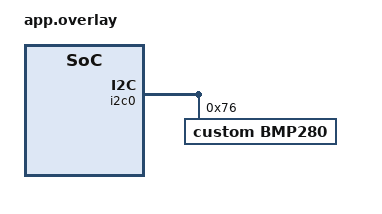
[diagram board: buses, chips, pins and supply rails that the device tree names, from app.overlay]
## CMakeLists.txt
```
cmake_minimum_required(VERSION 3.20.0)

get_filename_component(BMP280_LIB_PATH "${CMAKE_CURRENT_SOURCE_DIR}/../.." ABSOLUTE)
list (APPEND ZEPHYR_EXTRA_MODULES ${BMP280_LIB_PATH})

find_package(Zephyr REQUIRED HINTS $ENV{ZEPHYR_BASE})

project(bmp280_test)
target_include_directories(app PRIVATE
$(BMP280_LIB_PATH)/include)
target_sources(app PRIVATE src/main.c)
```

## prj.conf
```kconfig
CONFIG_I2C=y
CONFIG_SENSOR=y
CONFIG_CUSTOM_BMP280=y
CONFIG_UART_CONSOLE=y
CONFIG_PRINTK=y
CONFIG_LOG=y
CONFIG_I2C_LOG_LEVEL_DBG=y
CONFIG_LOG_MODE_IMMEDIATE=y
CONFIG_CUSTOM_BMP280_USE_ALTIMETER=y
```

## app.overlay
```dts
#include <dt-bindings/sensor/custom_bmp280.h>

&i2c0 {
    status = "okay";
    bmp280: bmp280@76 {
        compatible = "custom,bmp280";
        reg = <0x76>;
        status = "okay";
        
        /* Initial Configuration
         * See dt-bindings/sensor/custom_bmp280.h for more options
         */
        mode = <BMP280_MODE_NORMAL>;
        temperature-oversampling = <BMP280_OVERSAMPLING_X16>;
        pressure-oversampling = <BMP280_OVERSAMPLING_X16>;
        iir-filter = <BMP280_FILTER_X8>;
        t-standby = <BMP280_T_STANDBY_62_5MS>;
        pressure-sea-level = <100600>;
    };
    
};
```

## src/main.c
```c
/*
 * Copyright (c) 2026 Franciszek Trzeciak
 *
 * SPDX-License-Identifier: Apache-2.0
 *
 * BMP280 Zephyr driver demo
 */

#include <zephyr/kernel.h>
#include <zephyr/drivers/sensor.h>
#include <zephyr/drivers/sensor/custom_bmp280.h> // see for more settings

// #define SETTINGS // show config, then change and show again
// #define MEASURE // measure loop
// #define ALTIMETER //add altimeter to measure loop

#define ALL // all above

// uncomment to set own SEA LEVEL PRESSURE for altimeter
#define SEA_LEVEL_PRESSURE (struct sensor_value){.val1 = 100 /*kPa*/, .val2=800000 /*mPa*/}
#ifdef ALL
#ifndef SETTINGS
#define SETTINGS
#endif
#ifndef MEASURE
#define MEASURE
#endif
#ifndef ALTIMETER
#define ALTIMETER
#endif
#endif

#ifdef ALTIMETER
#ifndef MEASURE
#define MEASURE
#endif
#endif

#ifndef SEA_LEVEL_PRESSURE
#define SEA_LEVEL_PRESSURE BMP280_DEFAULT_SEA_LEVEL_PRESSURE
#endif

void readAndPrint(const struct device *dev);
void dumpConfiguration(const struct device *dev);
void setConfiguration(const struct device *dev);

int main(void)
{
    const struct device *bmp = DEVICE_DT_GET_ANY(custom_bmp280);
    if (bmp == NULL)
        printf("ERROR: compatible device found\n");
    if (!device_is_ready(bmp))
        printf("ERROR: Device %s not ready\n", bmp->name);
    printk("\n");
#ifdef SETTINGS
    printk("\n--DT configuration (see app.overlay)--\n");
    dumpConfiguration(bmp);

    printk("\n------Setting new configuration-------\n");
    setConfiguration(bmp);

    printk("\n----------New configuration-----------\n");
    dumpConfiguration(bmp);
#endif
#ifndef MEASURE
    printk("\n----------------Done------------------\n");

    while (1)
        ;
#endif
#ifdef MEASURE

    while (1)
    {
        // read Temperature and Pressure
        readAndPrint(bmp);
        k_msleep(1000);
    }
#endif
}

void readAndPrint(const struct device *dev)
{
    struct sensor_value temp;
    struct sensor_value press;
#ifdef ALTIMETER
    struct sensor_value alt;
#endif
    int64_t start_time, stop_time;

    start_time = k_uptime_get();
    // retreive data from sensor
    int8_t c = sensor_sample_fetch(dev);
    stop_time = k_uptime_get();
    // convert raw data
    if (c == 0)
    {
        int8_t c3 = sensor_channel_get(dev, SENSOR_CHAN_PRESS, &press);
        int8_t c2 = sensor_channel_get(dev, SENSOR_CHAN_AMBIENT_TEMP, &temp);
#ifdef ALTIMETER
        int8_t c4 = sensor_channel_get(dev, SENSOR_CHAN_ALTITUDE, &alt);
#endif
        // show results
        printk("Fetch time: %lldms\n", stop_time - start_time);
#ifdef ALTIMETER
        printk("RETURN CODES\nfetch (%d), get (%d_%d_%d)\n", c, c2, c3, c4);
#else
        printk("RETURN CODES\nfetch (%d), get (%d_%d)\n", c, c2, c3);

#endif
        printk("Temp\t%d.%06d  *C\n", temp.val1, temp.val2);
        printk("Press\t%d.%06d kPa\n", press.val1, press.val2);
#ifdef ALTIMETER

        printk("Alt AMSL \t%d.%06d m\n", alt.val1, alt.val2);
        printk("---------------------------\n");
#endif
    }
    else
    {
        printk("Fetch error code %d\n", c);
        printk("---------------------------\n");
    }
}

struct bmp280_name_map
{
    struct sensor_value val;
    const char *name;
};

static const struct bmp280_name_map standby_names[] = {
    {BMP280_T_STANDBY_0_5MS, "0.5ms"},
    {BMP280_T_STANDBY_62_5MS, "62.5ms"},
    {BMP280_T_STANDBY_125MS, "125ms"},
    {BMP280_T_STANDBY_250MS, "250ms"},
    {BMP280_T_STANDBY_500MS, "500ms"},
    {BMP280_T_STANDBY_1000MS, "1000ms"},
    {BMP280_T_STANDBY_2000MS, "2000ms"},
    {BMP280_T_STANDBY_4000MS, "4000ms"}};

static const struct bmp280_name_map filter_names[] = {
    {BMP280_FILTER_OFF, "OFF"},
    {BMP280_FILTER_X2, "X2"},
    {BMP280_FILTER_X4, "X4"},
    {BMP280_FILTER_X8, "X8"},
    {BMP280_FILTER_X16, "X16"}};

static const struct bmp280_name_map oversampling_names[] = {
    {BMP280_OVERSAMPLING_OFF, "OFF"},
    {BMP280_OVERSAMPLING_X1, "X1"},
    {BMP280_OVERSAMPLING_X2, "X2"},
    {BMP280_OVERSAMPLING_X4, "X4"},
    {BMP280_OVERSAMPLING_X8, "X8"},
    {BMP280_OVERSAMPLING_X16, "X16"}};

static const struct bmp280_name_map mode_names[] = {
    {BMP280_MODE_SLEEP, "SLEEP"},
    {BMP280_MODE_FORCED, "FORCED"},
    {BMP280_MODE_NORMAL, "NORMAL"}};

const char *bmp280_val_to_str(const struct bmp280_name_map *map, size_t size, struct sensor_value target)
{
    for (size_t i = 0; i < size; i++)
    {
        if (map[i].val.val1 == target.val1 && map[i].val.val2 == target.val2)
        {
            return map[i].name;
        }
    }
    return "UNKNOWN";
}

#define CFG_TO_STR(map_array, target_val) \
    bmp280_val_to_str(map_array, ARRAY_SIZE(map_array), target_val)

void dumpConfiguration(const struct device *dev)
{
    struct sensor_value config;

    int c2 = sensor_attr_get(dev, SENSOR_CHAN_ALL, BMP280_ATTR_MODE, &config);
    printk("MODE(%d)\t\t%s\n", c2, CFG_TO_STR(mode_names, config));

    c2 = sensor_attr_get(dev, SENSOR_CHAN_ALL, BMP280_ATTR_T_STANDBY, &config);
    printk("STANDBY TIME(%d)\t%s\n", c2, CFG_TO_STR(standby_names, config));

    c2 = sensor_attr_get(dev, SENSOR_CHAN_AMBIENT_TEMP, SENSOR_ATTR_OVERSAMPLING, &config);
    printk("OVRSMPL T(%d)\t%s\n", c2, CFG_TO_STR(oversampling_names, config));

    c2 = sensor_attr_get(dev, SENSOR_CHAN_PRESS, SENSOR_ATTR_OVERSAMPLING, &config);
    printk("OVRSMPL P(%d)\t%s\n", c2, CFG_TO_STR(oversampling_names, config));

    c2 = sensor_attr_get(dev, SENSOR_CHAN_PRESS, BMP280_ATTR_FILTER, &config);
    printk("FILTER(%d)\t%s\n", c2, CFG_TO_STR(filter_names, config));
#ifdef ALTIMETER
    c2 = sensor_attr_get(dev, SENSOR_CHAN_ALL, BMP280_ATTR_PRESS_SEA_LEVEL, &config);
    printk("SEA LEVEL PRESS(%d)\t%d.%06d\n",c2, config.val1, config.val2 );
#endif
}

void setConfiguration(const struct device *dev)
{

    int c2 = sensor_attr_set(dev, SENSOR_CHAN_ALL, BMP280_ATTR_RESET, &BMP280_RESET_TO_SLEEP); // force sleep mode to set new mode and Oversaampling.

    c2 = sensor_attr_set(dev, SENSOR_CHAN_AMBIENT_TEMP, SENSOR_ATTR_OVERSAMPLING, &BMP280_OVERSAMPLING_X4);
    printk("OVRSMPL T SET CODE(%d)\n", c2);

    c2 = sensor_attr_set(dev, SENSOR_CHAN_PRESS, SENSOR_ATTR_OVERSAMPLING, &BMP280_OVERSAMPLING_X4);
    printk("OVRSMPL P SET CODE(%d)\n", c2);

    c2 = sensor_attr_set(dev, SENSOR_CHAN_PRESS, BMP280_ATTR_FILTER, &BMP280_FILTER_X2);
    printk("FILTER SET CODE(%d)\n", c2);

    c2 = sensor_attr_set(dev, SENSOR_CHAN_ALL, BMP280_ATTR_T_STANDBY, &BMP280_T_STANDBY_2000MS);
    printk("STANDBY TIME SET CODE(%d)\n", c2);

    c2 = sensor_attr_set(dev, SENSOR_CHAN_ALL, BMP280_ATTR_MODE, &BMP280_MODE_NORMAL);
    printk("MODE SET CODE(%d)\t\n", c2);
#ifdef ALTIMETER
    c2 = sensor_attr_set(dev, SENSOR_CHAN_ALL, BMP280_ATTR_PRESS_SEA_LEVEL, &SEA_LEVEL_PRESSURE);
    printk("SEA LEVEL PRESS SET CODE(%d)\t\n", c2);
#endif
}
```
